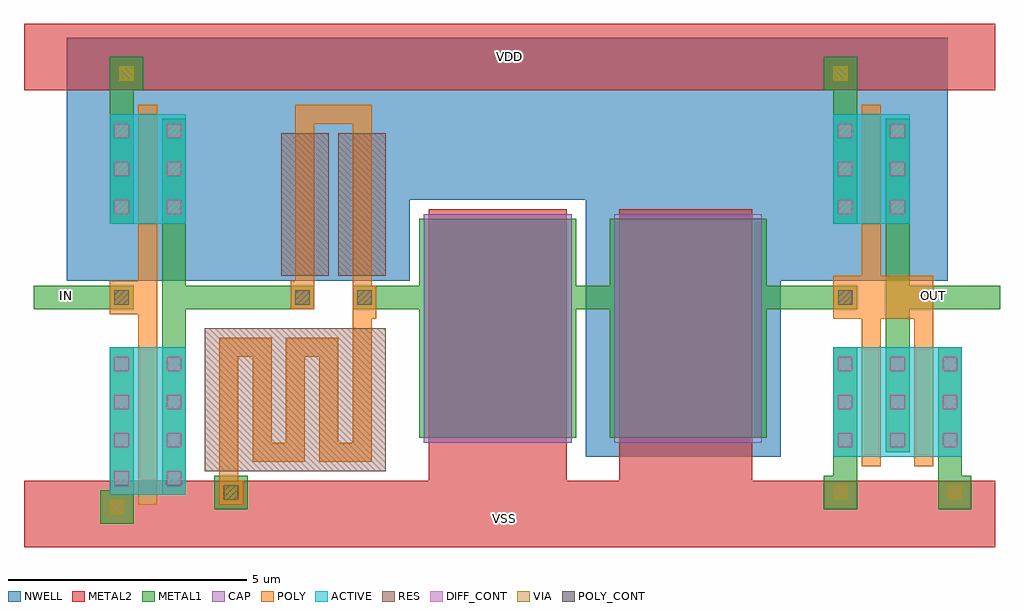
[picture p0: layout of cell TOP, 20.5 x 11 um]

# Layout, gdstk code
from math import pi, radians
import gdstk
lib = gdstk.Library(unit=1e-6, precision=1e-09)
def R(c, l, rs):  # rectangles x0, y0, x1, y1
    for r in rs: c.add(gdstk.rectangle(r[:2], r[2:], *l))
def A(c, l, x, y, w, h, nx, ny, dx, dy):  # array of equal rectangles
    R(c, l, [(x+i*dx, y+j*dy, x+i*dx+w, y+j*dy+h) for i in range(nx) for j in range(ny)])
def P(c, l, *ps):  # polygons
    for p in ps: c.add(gdstk.Polygon(p, *l))
NWELL = (1, 0)
ACTIVE = (2, 0)
POLY = (3, 0)
DIFF_CONT = (4, 0)
POLY_CONT = (5, 0)
METAL1 = (6, 0)
VIA = (7, 0)
METAL2 = (8, 0)
CAP = (10, 0)
RES = (11, 0)

res_meander = lib.new_cell('RES_MEANDER')
R(res_meander, RES, [(0.2,-3.3,3.2,0.5)])
res_meander.add(gdstk.FlexPath([(0,0),(2.8,0),(2.8,-0.7),(0.6,-0.7),(0.6,-1.4),(2.8,-1.4),(2.8,-2.1),(0.6,-2.1),(0.6,-2.8),(3.4,-2.8)], 0.4, ends="flush", simple_path=True, layer=3, datatype=0))  # POLY

res = lib.new_cell('RES')
R(res, RES, [(0.2,-0.5,3.2,0.5)])
res.add(gdstk.FlexPath([(0,0),(3.4,0)], 0.4, ends="flush", simple_path=True, layer=3, datatype=0))  # POLY

trans = lib.new_cell('TRANS')
R(trans, ACTIVE, [(-0.8,-1.1,0.8,1.2)])
R(trans, POLY, [(-0.2,-1.3,0.2,1.4)])
A(trans, DIFF_CONT, -0.7, -0.9, 0.3, 0.3, 1, 3, 0, 0.8)
A(trans, DIFF_CONT, 0.4, -0.9, 0.3, 0.3, 1, 3, 0, 0.8)

trans2 = lib.new_cell('TRANS2')
R(trans2, ACTIVE, [(-0.8,-1.1,0.8,2)])
R(trans2, POLY, [(-0.2,-1.3,0.2,2.2)])
A(trans2, DIFF_CONT, -0.7, -0.9, 0.3, 0.3, 1, 4, 0, 0.8)
A(trans2, DIFF_CONT, 0.4, -0.9, 0.3, 0.3, 1, 4, 0, 0.8)

top = lib.new_cell('TOP')
P(top, NWELL, [(9.2,-4.5),(9.2,0.9),(5.5,0.9),(5.5,-0.8),(-1.7,-0.8),(-1.7,4.3),(16.8,4.3),(16.8,-0.8),(13.3,-0.8),(13.3,-4.5)])
R(top, POLY, [(1.5,-5.5,2,-5), (-0.2,-2.2,0.2,0.6), (15,-2.2,15.4,0.6), (16.1,-2,16.5,-0.7), (4.3,-1.6,4.8,-0.9), (14.4,-1.6,16.5,-0.7), (-0.8,-1.5,0.2,-0.8), (3,-1.4,3.5,-0.8), (3.1,2.5,4.7,2.9)])
R(top, POLY_CONT, [(1.6,-5.4,1.9,-5.1), (-0.7,-1.3,-0.4,-1), (3.1,-1.3,3.4,-1), (4.4,-1.3,4.7,-1), (14.5,-1.3,14.8,-1)])
R(top, METAL1, [(-1,-5.9,-0.3,-5.2), (1.4,-5.6,2.1,-4.9), (14.2,-5.6,14.9,-4.9), (16.6,-5.6,17.3,-4.9), (-0.8,-5.5,-0.3,-2.2), (0.3,-5.3,0.8,2.6), (14.4,-5,14.9,-2.2), (16.6,-5,17.1,-2.2), (15.5,-4.4,16,2.6), (5.7,-4.1,9,0.5), (9.7,-4.1,13,0.5), (-2.4,-1.4,-0.3,-0.9), (0.7,-1.4,3.5,-0.9), (4.3,-1.4,14.9,-0.9), (15.8,-1.4,17.9,-0.9), (-0.8,0.4,-0.3,3.2), (14.4,0.4,14.9,3.2), (-0.8,3.2,-0.1,3.9), (14.2,3.2,14.9,3.9)])
R(top, VIA, [(-0.8,-5.7,-0.5,-5.4), (1.6,-5.4,1.9,-5.1), (14.4,-5.4,14.7,-5.1), (16.8,-5.4,17.1,-5.1), (-0.6,3.4,-0.3,3.7), (14.4,3.4,14.7,3.7)])
R(top, METAL2, [(-2.6,-6.4,17.8,-5), (5.9,-5.8,8.8,0.7), (9.9,-5.8,12.7,0.7), (-2.6,3.2,17.8,4.6)])
R(top, CAP, [(5.8,-4.2,8.9,0.6), (9.8,-4.2,12.9,0.6)])
top.add(gdstk.Reference(res_meander, (1.7,-5), rotation=pi/2))
top.add(gdstk.Reference(res, (3.3,-0.9), rotation=pi/2))
top.add(gdstk.Reference(res, (4.5,-0.9), rotation=pi/2))
top.add(gdstk.Reference(trans, (15.2,-3.4)))
top.add(gdstk.Reference(trans, (16.3,-3.4)))
top.add(gdstk.Reference(trans, (0,1.5)))
top.add(gdstk.Reference(trans, (15.2,1.5)))
top.add(gdstk.Reference(trans2, (0,-4.2)))
top.add(gdstk.Label('VSS', (7.5,-5.8), layer=8, texttype=1))
top.add(gdstk.Label('VDD', (7.6,3.9), layer=8, texttype=1))
top.add(gdstk.Label('IN', (-1.7,-1.1), layer=6, texttype=1))
top.add(gdstk.Label('OUT', (16.5,-1.1), layer=6, texttype=1))

lib.write_gds('TOP.gds')
